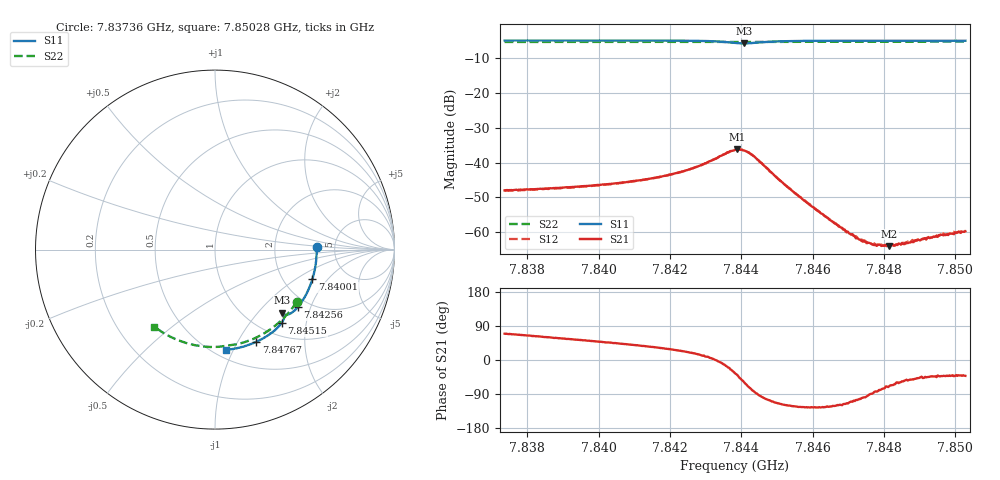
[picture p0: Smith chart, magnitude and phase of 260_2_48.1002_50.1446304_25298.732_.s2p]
#  HZ  S  RI  R  50.00
! Rohde & Schwarz Vector Network Analyzer
! Rohde-Schwarz,ZNB20-2Port,1311601062101988,3.16
! Created: UTC 12/23/2023, 4:00:40 AM
! freq[Hz]  re:S11  im:S11  re:S21  im:S21  re:S12  im:S12  re:S22  im:S22
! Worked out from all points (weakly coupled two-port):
!   401 points, 7.83736 GHz to 7.85028 GHz, reference 50 ohm
!   highest |S21| = -36.21 dB at 7.84389 GHz (marker M1); lowest = -64.0 dB at 7.84815 GHz (marker M2)
!   lowest |S11| = -5.8 dB at 7.84408 GHz (marker M3), VSWR 3.11, Z = 71.8 - j68.4 ohm
!   |S11| at or under -10 dB: nowhere
!   |S22| runs from -5.4 to -5.3 dB; largest |S21 - S12| = 0.00031
!   S11 on the Smith chart (normalised r, x): 7.83736 GHz: 3.61, +0.13; 7.84001 GHz: 2.88, -1.38; 7.84256 GHz: 1.74, -1.63; 7.84515 GHz: 1.24, -1.45; 7.84767 GHz: 0.80, -1.20; 7.85028 GHz: 0.57, -0.94
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7.837364e9  0.5662 0.0118  0.0014 0.00372  0.00142 0.00367  0.4541 -0.2916
7.839528e9  0.5515 -0.1313  0.00278 0.00363  0.00273 0.00358  0.356 -0.4068
7.840012e9  0.543 -0.1629  0.00317 0.00355  0.00311 0.00352  0.33 -0.4285
7.840788e9  0.5252 -0.2125  0.00392 0.00347  0.00389 0.00348  0.2854 -0.4597
7.841692e9  0.4977 -0.2685  0.00524 0.0033  0.00518 0.00329  0.2296 -0.4902
7.842564e9  0.4617 -0.3205  0.00758 0.0027  0.00753 0.00274  0.1727 -0.5129
7.843372e9  0.4114 -0.3601  0.012 -0.000934  0.0121 -0.000871  0.1178 -0.5277
7.843824e9  0.3786 -0.3594  0.0125 -0.00874  0.0125 -0.00857  0.0876 -0.5318
7.843888e9  0.3761 -0.357  0.0119 -0.00985  0.0117 -0.0098  0.0832 -0.5326
7.844082e9  0.3758 -0.3505  0.00763 -0.0128  0.00771 -0.0128  0.0713 -0.5344
7.844341e9  0.3839 -0.3548  0.00176 -0.0123  0.00178 -0.0123  0.0546 -0.5373
7.845148e9  0.3712 -0.4087  -0.00237 -0.00463  -0.00235 -0.00465  -0.00165 -0.5427
7.845988e9  0.3291 -0.4529  -0.00132 -0.00191  -0.00135 -0.00194  -0.061 -0.5402
7.846892e9  0.2777 -0.4887  -0.000475 -0.000978  -0.000471 -0.000981  -0.1237 -0.5301
7.847344e9  0.2507 -0.5038  -0.00017 -0.000753  -0.000155 -0.00075  -0.1546 -0.5222
7.847667e9  0.231 -0.5132  1.32e-05 -0.000664  2.22e-05 -0.000672  -0.1763 -0.5156
7.848023e9  0.2092 -0.5226  0.000173 -0.000616  0.000202 -0.000619  -0.1996 -0.5069
7.848152e9  0.201 -0.5259  0.000227 -0.00059  0.00024 -0.00062  -0.2081 -0.5039
7.848539e9  0.1763 -0.5344  0.000372 -0.000562  0.000397 -0.000581  -0.2329 -0.4928
7.848992e9  0.1475 -0.5431  0.00052 -0.000562  0.000543 -0.000602  -0.2612 -0.479
7.849605e9  0.1076 -0.5523  0.000681 -0.000619  0.000667 -0.000579  -0.2984 -0.4571
7.850284e9  0.0629 -0.5588  0.000767 -0.000685  0.000786 -0.000688  -0.3373 -0.4295
